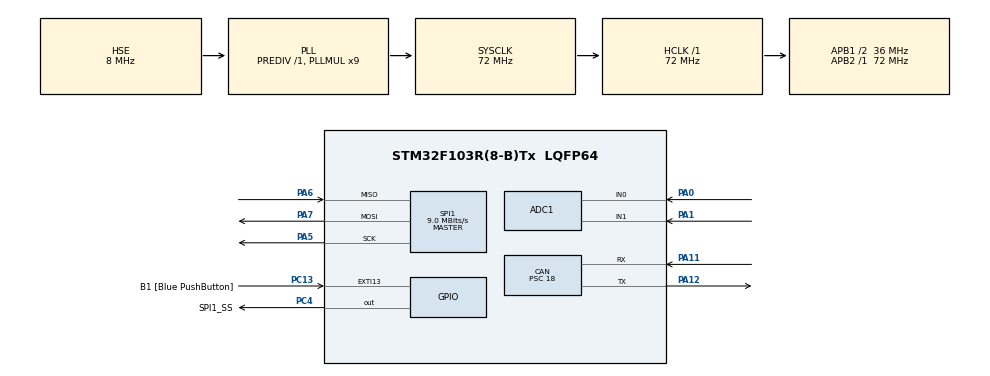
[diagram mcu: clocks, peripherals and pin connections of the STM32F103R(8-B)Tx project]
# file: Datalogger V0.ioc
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ADC1.Channel-0\#ChannelRegularConversion=ADC_CHANNEL_0
ADC1.ContinuousConvMode=ENABLE
ADC1.NbrOfConversion=1
ADC1.NbrOfConversionFlag=1
ADC1.Rank-0\#ChannelRegularConversion=1
ADC1.SamplingTime-0\#ChannelRegularConversion=ADC_SAMPLETIME_239CYCLES_5
ADC1.master=1
CAN.BS1=CAN_BS1_2TQ
CAN.CalculateBaudRate=500000
CAN.CalculateTimeBit=2000
CAN.CalculateTimeQuantum=500.0
CAN.Prescaler=18
Dma.ADC1.0.Direction=DMA_PERIPH_TO_MEMORY
Dma.ADC1.0.Instance=DMA1_Channel1
Dma.ADC1.0.MemDataAlignment=DMA_MDATAALIGN_HALFWORD
Dma.ADC1.0.MemInc=DMA_MINC_ENABLE
Dma.ADC1.0.Mode=DMA_CIRCULAR
Dma.ADC1.0.PeriphDataAlignment=DMA_PDATAALIGN_HALFWORD
Dma.ADC1.0.PeriphInc=DMA_PINC_DISABLE
Dma.ADC1.0.Priority=DMA_PRIORITY_LOW
Dma.Request0=ADC1
FATFS._MAX_SS=4096
FATFS._USE_LFN=1
Mcu.Family=STM32F1
Mcu.Name=STM32F103R(8-B)Tx
Mcu.Package=LQFP64
NVIC.DMA1_Channel1_IRQn=true\:0\:0\:false\:false\:true\:false\:true\:true
NVIC.EXTI15_10_IRQn=true\:0\:0\:false\:false\:true\:true\:true\:true
NVIC.PriorityGroup=NVIC_PRIORITYGROUP_4
NVIC.TIM4_IRQn=true\:0\:0\:false\:false\:true\:true\:true\:true
NVIC.USB_LP_CAN1_RX0_IRQn=true\:0\:0\:false\:false\:true\:true\:true\:true
PA0-WKUP.Signal=ADCx_IN0
PA1.Signal=ADCx_IN1
PA11.Mode=CAN_Activate
PA11.Signal=CAN_RX
PA12.Mode=CAN_Activate
PA12.Signal=CAN_TX
PA13.GPIO_Label=TMS
PA13.Mode=Serial_Wire
PA13.Signal=SYS_JTMS-SWDIO
PA14.GPIO_Label=TCK
PA14.Mode=Serial_Wire
PA14.Signal=SYS_JTCK-SWCLK
PA5.Mode=Full_Duplex_Master
PA5.Signal=SPI1_SCK
PA6.Mode=Full_Duplex_Master
PA6.Signal=SPI1_MISO
PA7.Mode=Full_Duplex_Master
PA7.Signal=SPI1_MOSI
PB3.GPIO_Label=SWO
PB3.Signal=SYS_JTDO-TRACESWO
PC13-TAMPER-RTC.GPIO_Label=B1 [Blue PushButton]
PC13-TAMPER-RTC.GPIO_PuPd=GPIO_NOPULL
PC13-TAMPER-RTC.Signal=GPXTI13
PC14-OSC32_IN.Mode=LSE-External-Oscillator
PC14-OSC32_IN.Signal=RCC_OSC32_IN
PC15-OSC32_OUT.Mode=LSE-External-Oscillator
PC15-OSC32_OUT.Signal=RCC_OSC32_OUT
PC4.GPIO_Label=SPI1_SS
PC4.Signal=GPIO_Output
PD0-OSC_IN.Mode=HSE-External-Clock-Source
PD0-OSC_IN.Signal=RCC_OSC_IN
PD1-OSC_OUT.Mode=HSE-External-Clock-Source
PD1-OSC_OUT.Signal=RCC_OSC_OUT
ProjectManager.HeapSize=0x200
ProjectManager.StackSize=0x400
ProjectManager.TargetToolchain=STM32CubeIDE
RCC.ADCPresc=RCC_ADCPCLK2_DIV6
RCC.AHBFreq_Value=72000000
RCC.APB1CLKDivider=RCC_HCLK_DIV2
RCC.APB1Freq_Value=36000000
RCC.APB1TimFreq_Value=72000000
RCC.APB2Freq_Value=72000000
RCC.APB2TimFreq_Value=72000000
RCC.HCLKFreq_Value=72000000
RCC.PLLMUL=RCC_PLL_MUL9
RCC.PLLSourceVirtual=RCC_PLLSOURCE_HSE
RCC.RTCClockSelection=RCC_RTCCLKSOURCE_LSE
RCC.SYSCLKFreq_VALUE=72000000
RCC.SYSCLKSource=RCC_SYSCLKSOURCE_PLLCLK
RCC.USBFreq_Value=72000000
SH.ADCx_IN0.0=ADC1_IN0,IN0
SH.ADCx_IN1.0=ADC1_IN1,IN1
SPI1.BaudRatePrescaler=SPI_BAUDRATEPRESCALER_8
SPI1.CalculateBaudRate=9.0 MBits/s
SPI1.Direction=SPI_DIRECTION_2LINES
SPI1.Mode=SPI_MODE_MASTER
SPI1.VirtualType=VM_MASTER
TIM4.Period=200
TIM4.Prescaler=3600
VP_FATFS_VS_Generic.Mode=User_defined
VP_TIM4_VS_ClockSourceINT.Mode=Internal
board=NUCLEO-F103RB

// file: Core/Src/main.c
/* USER CODE BEGIN Header */
/**
  ******************************************************************************
  * @file           : main.c
  * @brief          : Main program body
  ******************************************************************************
  * @attention
  *
  * Copyright (c) 2025 STMicroelectronics.
  * All rights reserved.
  *
  * This software is licensed under terms that can be found in the LICENSE file
  * in the root directory of this software component.
  * If no LICENSE file comes with this software, it is provided AS-IS.
  *
  ******************************************************************************
  */
/* USER CODE END Header */
#include "main.h"
#include "fatfs.h"

/* USER CODE BEGIN Includes */
#include "fatfs_sd.h"
#include "spi_sd.h"
#include "adc_multi.h"
/* USER CODE END Includes */

ADC_HandleTypeDef hadc1;
DMA_HandleTypeDef hdma_adc1;

CAN_HandleTypeDef hcan;

SPI_HandleTypeDef hspi1;

TIM_HandleTypeDef htim4;

/* USER CODE BEGIN PV */
uint16_t ADC_VAL[READSIZE];
float ADC_Voltage[READSIZE];
float ADC_Position[READSIZE];
int IsADCFinished = 0;
int SendData = 0;
typedef enum{
	NOT_READY_TO_DRIVE,
	READY_TO_DRIVE
}States;
States state_machine = READY_TO_DRIVE;

CAN_TxHeaderTypeDef TxHeader;
CAN_RxHeaderTypeDef RxHeader;
uint32_t TxMailbox;
uint8_t TxData[8];
uint8_t RxData[8];

/* USER CODE END PV */

void SystemClock_Config(void);
static void MX_GPIO_Init(void);
static void MX_DMA_Init(void);
static void MX_ADC1_Init(void);
static void MX_SPI1_Init(void);
static void MX_TIM4_Init(void);
static void MX_CAN_Init(void);
/* USER CODE BEGIN PFP */
void HAL_ADC_ConvCpltCallback(ADC_HandleTypeDef *hadc);
void HAL_TIM_PeriodElapsedCallback(TIM_HandleTypeDef * htim);
/* USER CODE END PFP */

int main(void)
{

  /* MCU Configuration--------------------------------------------------------*/

  /* Reset of all peripherals, Initializes the Flash interface and the Systick. */
  HAL_Init();

  /* Configure the system clock */
  SystemClock_Config();

  /* Initialize all configured peripherals */
  MX_GPIO_Init();
  MX_DMA_Init();
  MX_ADC1_Init();
  MX_SPI1_Init();
  MX_FATFS_Init();
  MX_TIM4_Init();
  MX_CAN_Init();
  /* USER CODE BEGIN 2 */
  HAL_CAN_Start(&hcan);
  HAL_CAN_ActivateNotification(&hcan, CAN_IT_RX_FIFO0_MSG_PENDING);
  TxHeader.DLC = 7; // Tamanho do dado
  TxHeader.IDE = CAN_ID_STD;
  TxHeader.RTR = CAN_RTR_DATA;
  TxHeader.StdId = 	0X446; // Id da mensagem

  HAL_TIM_Base_Start_IT(&htim4);
  HAL_ADC_Start_DMA(&hadc1, (uint32_t *) ADC_VAL, READSIZE);
  /* USER CODE END 2 */

  /* Infinite loop */
  while (1)
  {

    /* USER CODE BEGIN 3 */
	  while(state_machine == READY_TO_DRIVE){
		  if(SendData == 1){
		  if(IsADCFinished == 1){
			  for(int i = 0; i < READSIZE; i++){
				  ADC_Voltage[i] = ReadVoltage(ADC_VAL[i]); // Recebe as tensões convertidas
				  ADC_Position[i] = ReadPosition(ADC_Voltage[i]); // Recebe a Tensão e converte em Posição do potenciometro linear
			  }
			  IsADCFinished = 0;
		  }}
		  SendData = 0;
  }}
  /* USER CODE END 3 */
}

void SystemClock_Config(void)
{
  RCC_OscInitTypeDef RCC_OscInitStruct = {0};
  RCC_ClkInitTypeDef RCC_ClkInitStruct = {0};
  RCC_PeriphCLKInitTypeDef PeriphClkInit = {0};

  /** Initializes the RCC Oscillators according to the specified parameters
  * in the RCC_OscInitTypeDef structure.
  */
  RCC_OscInitStruct.OscillatorType = RCC_OSCILLATORTYPE_HSE;
  RCC_OscInitStruct.HSEState = RCC_HSE_BYPASS;
  RCC_OscInitStruct.HSEPredivValue = RCC_HSE_PREDIV_DIV1;
  RCC_OscInitStruct.HSIState = RCC_HSI_ON;
  RCC_OscInitStruct.PLL.PLLState = RCC_PLL_ON;
  RCC_OscInitStruct.PLL.PLLSource = RCC_PLLSOURCE_HSE;
  RCC_OscInitStruct.PLL.PLLMUL = RCC_PLL_MUL9;
  if (HAL_RCC_OscConfig(&RCC_OscInitStruct) != HAL_OK)
  {
    Error_Handler();
  }

  /** Initializes the CPU, AHB and APB buses clocks
  */
  RCC_ClkInitStruct.ClockType = RCC_CLOCKTYPE_HCLK|RCC_CLOCKTYPE_SYSCLK
                              |RCC_CLOCKTYPE_PCLK1|RCC_CLOCKTYPE_PCLK2;
  RCC_ClkInitStruct.SYSCLKSource = RCC_SYSCLKSOURCE_PLLCLK;
  RCC_ClkInitStruct.AHBCLKDivider = RCC_SYSCLK_DIV1;
  RCC_ClkInitStruct.APB1CLKDivider = RCC_HCLK_DIV2;
  RCC_ClkInitStruct.APB2CLKDivider = RCC_HCLK_DIV1;

  if (HAL_RCC_ClockConfig(&RCC_ClkInitStruct, FLASH_LATENCY_2) != HAL_OK)
  {
    Error_Handler();
  }
  PeriphClkInit.PeriphClockSelection = RCC_PERIPHCLK_ADC;
  PeriphClkInit.AdcClockSelection = RCC_ADCPCLK2_DIV6;
  if (HAL_RCCEx_PeriphCLKConfig(&PeriphClkInit) != HAL_OK)
  {
    Error_Handler();
  }
}

static void MX_ADC1_Init(void)
{

  ADC_ChannelConfTypeDef sConfig = {0};

  /** Common config
  */
  hadc1.Instance = ADC1;
  hadc1.Init.ScanConvMode = ADC_SCAN_DISABLE;
  hadc1.Init.ContinuousConvMode = ENABLE;
  hadc1.Init.DiscontinuousConvMode = DISABLE;
  hadc1.Init.ExternalTrigConv = ADC_SOFTWARE_START;
  hadc1.Init.DataAlign = ADC_DATAALIGN_RIGHT;
  hadc1.Init.NbrOfConversion = 1;
  if (HAL_ADC_Init(&hadc1) != HAL_OK)
  {
    Error_Handler();
  }

  /** Configure Regular Channel
  */
  sConfig.Channel = ADC_CHANNEL_0;
  sConfig.Rank = ADC_REGULAR_RANK_1;
  sConfig.SamplingTime = ADC_SAMPLETIME_239CYCLES_5;
  if (HAL_ADC_ConfigChannel(&hadc1, &sConfig) != HAL_OK)
  {
    Error_Handler();
  }

}

static void MX_CAN_Init(void)
{

  hcan.Instance = CAN1;
  hcan.Init.Prescaler = 18;
  hcan.Init.Mode = CAN_MODE_NORMAL;
  hcan.Init.SyncJumpWidth = CAN_SJW_1TQ;
  hcan.Init.TimeSeg1 = CAN_BS1_2TQ;
  hcan.Init.TimeSeg2 = CAN_BS2_1TQ;
  hcan.Init.TimeTriggeredMode = DISABLE;
  hcan.Init.AutoBusOff = DISABLE;
  hcan.Init.AutoWakeUp = DISABLE;
  hcan.Init.AutoRetransmission = DISABLE;
  hcan.Init.ReceiveFifoLocked = DISABLE;
  hcan.Init.TransmitFifoPriority = DISABLE;
  if (HAL_CAN_Init(&hcan) != HAL_OK)
  {
    Error_Handler();
  }

}

static void MX_SPI1_Init(void)
{

  /* SPI1 parameter configuration*/
  hspi1.Instance = SPI1;
  hspi1.Init.Mode = SPI_MODE_MASTER;
  hspi1.Init.Direction = SPI_DIRECTION_2LINES;
  hspi1.Init.DataSize = SPI_DATASIZE_8BIT;
  hspi1.Init.CLKPolarity = SPI_POLARITY_LOW;
  hspi1.Init.CLKPhase = SPI_PHASE_1EDGE;
  hspi1.Init.NSS = SPI_NSS_SOFT;
  hspi1.Init.BaudRatePrescaler = SPI_BAUDRATEPRESCALER_8;
  hspi1.Init.FirstBit = SPI_FIRSTBIT_MSB;
  hspi1.Init.TIMode = SPI_TIMODE_DISABLE;
  hspi1.Init.CRCCalculation = SPI_CRCCALCULATION_DISABLE;
  hspi1.Init.CRCPolynomial = 10;
  if (HAL_SPI_Init(&hspi1) != HAL_OK)
  {
    Error_Handler();
  }

}

static void MX_TIM4_Init(void)
{

  TIM_ClockConfigTypeDef sClockSourceConfig = {0};
  TIM_MasterConfigTypeDef sMasterConfig = {0};

  htim4.Instance = TIM4;
  htim4.Init.Prescaler = 3600;
  htim4.Init.CounterMode = TIM_COUNTERMODE_UP;
  htim4.Init.Period = 200;
  htim4.Init.ClockDivision = TIM_CLOCKDIVISION_DIV1;
  htim4.Init.AutoReloadPreload = TIM_AUTORELOAD_PRELOAD_DISABLE;
  if (HAL_TIM_Base_Init(&htim4) != HAL_OK)
  {
    Error_Handler();
  }
  sClockSourceConfig.ClockSource = TIM_CLOCKSOURCE_INTERNAL;
  if (HAL_TIM_ConfigClockSource(&htim4, &sClockSourceConfig) != HAL_OK)
  {
    Error_Handler();
  }
  sMasterConfig.MasterOutputTrigger = TIM_TRGO_RESET;
  sMasterConfig.MasterSlaveMode = TIM_MASTERSLAVEMODE_DISABLE;
  if (HAL_TIMEx_MasterConfigSynchronization(&htim4, &sMasterConfig) != HAL_OK)
  {
    Error_Handler();
  }

}

static void MX_DMA_Init(void)
{

  /* DMA controller clock enable */
  __HAL_RCC_DMA1_CLK_ENABLE();

  /* DMA interrupt init */
  /* DMA1_Channel1_IRQn interrupt configuration */
  HAL_NVIC_SetPriority(DMA1_Channel1_IRQn, 0, 0);
  HAL_NVIC_EnableIRQ(DMA1_Channel1_IRQn);

}

static void MX_GPIO_Init(void)
{
  GPIO_InitTypeDef GPIO_InitStruct = {0};

  /* GPIO Ports Clock Enable */
  __HAL_RCC_GPIOC_CLK_ENABLE();
  __HAL_RCC_GPIOD_CLK_ENABLE();
  __HAL_RCC_GPIOA_CLK_ENABLE();
  __HAL_RCC_GPIOB_CLK_ENABLE();

  /*Configure GPIO pin Output Level */
  HAL_GPIO_WritePin(SPI1_SS_GPIO_Port, SPI1_SS_Pin, GPIO_PIN_RESET);

  /*Configure GPIO pin : B1_Pin */
  GPIO_InitStruct.Pin = B1_Pin;
  GPIO_InitStruct.Mode = GPIO_MODE_IT_RISING;
  GPIO_InitStruct.Pull = GPIO_NOPULL;
  HAL_GPIO_Init(B1_GPIO_Port, &GPIO_InitStruct);

  /*Configure GPIO pin : SPI1_SS_Pin */
  GPIO_InitStruct.Pin = SPI1_SS_Pin;
  GPIO_InitStruct.Mode = GPIO_MODE_OUTPUT_PP;
  GPIO_InitStruct.Pull = GPIO_NOPULL;
  GPIO_InitStruct.Speed = GPIO_SPEED_FREQ_LOW;
  HAL_GPIO_Init(SPI1_SS_GPIO_Port, &GPIO_InitStruct);

  /* EXTI interrupt init*/
  HAL_NVIC_SetPriority(EXTI15_10_IRQn, 0, 0);
  HAL_NVIC_EnableIRQ(EXTI15_10_IRQn);

}

/* USER CODE BEGIN 4 */
void HAL_TIM_PeriodElapsedCallback(TIM_HandleTypeDef * htim)
{
	SendData = 1;
}

void HAL_ADC_ConvCpltCallback(ADC_HandleTypeDef *hadc){

	IsADCFinished = 1;

}
void HAL_CAN_RxFifo0MsgPendingCallback(CAN_HandleTypeDef *hcan){
	if(HAL_CAN_GetRxMessage(hcan, CAN_RX_FIFO0, &RxHeader, RxData)==HAL_OK){
		switch(RxHeader.StdId){
		case 0x1:
		case 0x2:
		}}}
/* USER CODE END 4 */

void Error_Handler(void)
{
  __disable_irq();
  while (1)
  {
  }
}
